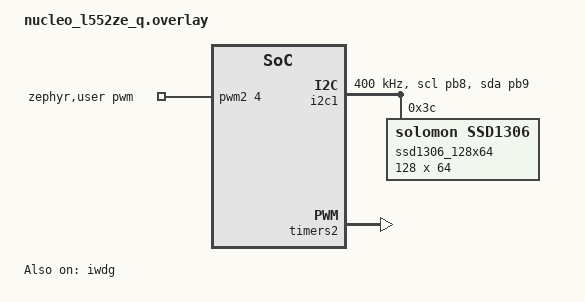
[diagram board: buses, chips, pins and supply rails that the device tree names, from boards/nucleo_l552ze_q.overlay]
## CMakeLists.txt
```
cmake_minimum_required(VERSION 3.20.0)

# Provides the SSD1306 OLED (with the exact init parameters this specific
# panel needs - segment-remap/com-invdir/multiplex-ratio etc, easy to get
# wrong by hand) and the D1 button as a proper gpio-keys node. Set here
# (before find_package) so plain `west build` picks it up with no extra
# flag needed, same reasoning as the self-contained CDC-ACM console setup.
# Does not cover the buzzer - that pinctrl/PWM setup stays in
# boards/xiao_rp2040.overlay, since the shield doesn't know about it.
#
# Only for XIAO boards: the shield and expansion_board.overlay are written
# against the XIAO connector (&xiao_d, &xiao_i2c). Other boards wire the
# expansion board by jumper wires and describe it in their own
# boards/<board>.overlay (e.g. nucleo_l552ze_q). Gated on BOARD, not
# CONFIG_BOARD_*: Kconfig hasn't run yet before find_package.
if(BOARD MATCHES "^xiao_")
    set(SHIELD seeed_xiao_expansion_board)

    # Expansion-board settings for every XIAO (buzzer pin via the XIAO
    # connector, button debounce) - see expansion_board.overlay. Appended
    # to (not replacing) the board overlays under boards/.
    list(APPEND EXTRA_DTC_OVERLAY_FILE ${CMAKE_CURRENT_LIST_DIR}/expansion_board.overlay)
endif()

find_package(Zephyr REQUIRED HINTS $ENV{ZEPHYR_BASE})
project(xiao_rp2040_mplay)

target_sources(app PRIVATE src/main.c src/mod_player.c src/vu_neopixel.c src/oled_display.c src/spectrum.c src/diag.c
               src/audio.c)
# Audio output backend, one per SoC family - see src/audio_backend.h.
target_sources_ifdef(CONFIG_SOC_FAMILY_RPI_PICO app PRIVATE src/audio_rp2xxx.c)
target_sources_ifdef(CONFIG_SOC_FAMILY_NORDIC_NRF app PRIVATE src/audio_nrf.c)
target_sources_ifdef(CONFIG_SOC_FAMILY_STM32 app PRIVATE src/audio_stm32.c)

# Embed the playlist as flash data, generated at build time into the build
# directory rather than committing ~6x larger generated headers. Each MOD
# becomes a byte-list .inc (Zephyr's generate_inc_file_for_target()), and
# mod_table.h wraps them into mod_table[] in this order - the D1 button
# steps through it (see main.c). Add/remove/reorder songs here.
set(MOD_FILES
        AXEL_F.MOD
        POPCORN1.MOD
        ELYSIUM.MOD
        MOBY_DRAGONSFUNK.MOD
        12TH.MOD
        STEEL_CHAMBERS_2.MOD
        2010.MOD
        JOHN.MOD
        LISBONFE.MOD
)
# The XIAO BLE (nRF52840) has 1 MB of flash, of which the code partition
# (after the bootloader's reserved area) is ~790 KB - room for ~700 KB of
# MODs next to the ~70 KB of code. The linker errors out if it overflows.
if(CONFIG_BOARD_XIAO_BLE)
    set(MOD_FILES
        AXEL_F.MOD
        POPCORN1.MOD
        ELYSIUM.MOD
        MOBY_DRAGONSFUNK.MOD
        12TH.MOD
    )
# NUCLEO-L552ZE-Q: 512 KB of internal flash in total.
elseif(CONFIG_BOARD_NUCLEO_L552ZE_Q)
    set(MOD_FILES
        AXEL_F.MOD
        POPCORN1.MOD
        ELYSIUM.MOD
    )
endif()
set(MOD_GEN_DIR ${CMAKE_CURRENT_BINARY_DIR}/mods)
set(MOD_ARRAYS "")
set(MOD_ENTRIES "")
set(MOD_INDEX 0)
foreach(MOD_FILE ${MOD_FILES})
        generate_inc_file_for_target(app ${CMAKE_CURRENT_LIST_DIR}/mods/${MOD_FILE}
                                     ${MOD_GEN_DIR}/mod_${MOD_INDEX}.inc)
        string(APPEND MOD_ARRAYS
                "static const uint8_t mod_data_${MOD_INDEX}[] = {\n#include \"mod_${MOD_INDEX}.inc\"\n};\n")
        string(APPEND MOD_ENTRIES
                "\t{ \"${MOD_FILE}\", mod_data_${MOD_INDEX}, sizeof(mod_data_${MOD_INDEX}) },\n")
        math(EXPR MOD_INDEX "${MOD_INDEX} + 1")
endforeach()
file(GENERATE OUTPUT ${MOD_GEN_DIR}/mod_table.h CONTENT
"/* Generated by CMakeLists.txt from MOD_FILES - do not edit. */
#include <stddef.h>
#include <stdint.h>

struct mod_entry {
\tconst char *name;
\tconst uint8_t *data;
\tsize_t len;
};

${MOD_ARRAYS}
static const struct mod_entry mod_table[] = {
${MOD_ENTRIES}};
")
target_include_directories(app PRIVATE ${MOD_GEN_DIR})
```

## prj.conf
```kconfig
# Common to every board. Board-specific settings (the audio backend's
# drivers, NeoPixel, stack protection) live in boards/<board>.conf, which
# Zephyr merges automatically for the board being built - Zephyr rejects
# assignments to symbols a board doesn't have, so they can't live here.

CONFIG_GPIO=y

# main()'s thread does the 4-channel mixer (plus, when enabled, the
# NeoPixel driver call chain) - the 1024-byte default was too tight. RAM
# headroom is large on every XIAO, so this costs nothing meaningful. The
# +256 on this and the stacks below dates from trying the RP2040's MPU
# stack guard (256-byte regions on ARMv6-M); harmless elsewhere.
CONFIG_MAIN_STACK_SIZE=4352
CONFIG_IDLE_STACK_SIZE=512
CONFIG_SYSTEM_WORKQUEUE_STACK_SIZE=1280
CONFIG_USBD_THREAD_STACK_SIZE=1280
CONFIG_INPUT_THREAD_STACK_SIZE=1280

# Expansion board peripherals (seeed_xiao_expansion_board shield, set in
# CMakeLists.txt): SSD1306 OLED over I2C, D1 button as a gpio-keys input
# device. The buzzer pin is described through the XIAO connector in
# expansion_board.overlay.
CONFIG_I2C=y
CONFIG_DISPLAY=y
CONFIG_SSD1306=y
CONFIG_INPUT=y

# Self-contained USB CDC console (same setup as pico_mplay's), no -S
# snippet needed - see the board overlays for the devicetree side (the
# XIAO BLE's board definition already provides the CDC node).
CONFIG_USB_DEVICE_STACK_NEXT=y
CONFIG_CDC_ACM_SERIAL_INITIALIZE_AT_BOOT=y
CONFIG_STDOUT_CONSOLE=y
CONFIG_SERIAL=y
CONFIG_UART_LINE_CTRL=y
CONFIG_USBD_CDC_ACM_CLASS=y

# Crash diagnostics (src/diag.c): a fatal error can't be printed over the
# USB CDC console (interrupts are locked, the TX work never runs), so the
# fatal handler stores it in __noinit RAM and reboots; the next boot prints
# it together with the reset cause. The watchdog turns non-fatal hangs
# (deadlock, IRQ storm) into a reset with a WATCHDOG cause.
CONFIG_REBOOT=y
CONFIG_HWINFO=y
CONFIG_WATCHDOG=y
CONFIG_THREAD_NAME=y
```

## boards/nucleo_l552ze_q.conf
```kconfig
# NUCLEO-L552ZE-Q: console on LPUART1 (ST-LINK virtual COM port), so the
# USB device stack that prj.conf enables for the XIAOs' CDC console stays
# off. Merged after prj.conf; the USB options there that depend on it then
# become inactive (harmless Kconfig warnings).
CONFIG_USB_DEVICE_STACK_NEXT=n

# Buzzer: TIM2 PWM fed by DMA (audio_stm32.c).
CONFIG_PWM=y
CONFIG_DMA=y

# printk on a UART console busy-waits per character: main()'s ~130-char
# status line takes ~11 ms at 115200 baud, longer than one audio buffer
# (5.3 ms), and the render loop underran once per line. (The XIAOs' USB
# CDC console queues output, so it never showed there.) Deferred logging
# routes printk through the log buffer; the low-priority log thread does
# the actual UART output.
CONFIG_LOG=y
CONFIG_LOG_MODE_DEFERRED=y
CONFIG_LOG_PRINTK=y
CONFIG_LOG_BUFFER_SIZE=2048
```

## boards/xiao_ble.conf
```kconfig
# XIAO BLE and XIAO BLE Sense (nRF52840) - build both with -b xiao_ble: same
# MCU, flash, pins and bootloader; the Sense only adds an IMU and a PDM
# microphone, which this firmware doesn't use. (-b xiao_ble/nrf52840/sense
# would look for boards/xiao_ble_nrf52840_sense.conf/.overlay instead.)
#
# The audio_nrf.c backend drives PWM1's
# sequence playback through nrfx directly - not Zephyr's PWM driver
# (CONFIG_PWM stays off; PWM1 stays disabled in devicetree).
CONFIG_NRFX_PWM=y

# No NeoPixel on this board (vu_neopixel.c compiles to stubs), and stack
# overflow checking comes from the board's defconfig: ARM_MPU +
# HW_STACK_PROTECTION, i.e. real 32-byte MPU guards on the Cortex-M4 -
# stronger than the RP2040's STACK_SENTINEL, which it can't be combined
# with.
```

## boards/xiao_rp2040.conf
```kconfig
# XIAO RP2040 (and, via boards/xiao_rp2350_*.conf, the RP2350): the
# audio_rp2xxx.c backend - PWM slice paced DMA - and the onboard NeoPixel
# (RPi-Pico-PIO WS2812 driver).
CONFIG_PWM=y
CONFIG_DMA=y
CONFIG_LED_STRIP=y

CONFIG_UDC_RPI_PICO_STACK_SIZE=768

# Stack overflow checking. The M0+ does have an MPU and Zephyr supports it
# on RP2040, but with the guard on (256-byte regions carved from every
# stack on ARMv6-M) the board faulted/rebooted within the first second of
# boot even with the +256 stack bumps in prj.conf - cause not yet known.
# STACK_SENTINEL (checked at context switches) until that's understood:
#   CONFIG_ARM_MPU=y
#   CONFIG_MPU_STACK_GUARD=y
CONFIG_STACK_SENTINEL=y
```

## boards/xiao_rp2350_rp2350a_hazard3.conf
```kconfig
# XIAO RP2350 on its Hazard3 (RISC-V) cores - same setup as
# boards/xiao_rp2350_rp2350a_m33.conf, minus the ARM MPU notes, and with
# the USB device stack OFF: it hangs on Hazard3 in Zephyr 4.4.2 (even the
# unmodified samples/subsys/usb/cdc_acm never enumerates; works on M33).
# The console goes to UART0 instead - see the .overlay. Merged after
# prj.conf, so this overrides its USB settings; the USB options there that
# depend on it then become inactive (harmless Kconfig warnings).
CONFIG_PWM=y
CONFIG_DMA=y
CONFIG_LED_STRIP=y

CONFIG_USB_DEVICE_STACK_NEXT=n

CONFIG_STACK_SENTINEL=y
```

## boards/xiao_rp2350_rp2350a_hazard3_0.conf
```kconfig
# XIAO RP2350 on its Hazard3 (RISC-V) cores - same setup as
# boards/xiao_rp2350_rp2350a_m33_0.conf, minus the ARM MPU notes, and with
# the USB device stack OFF: it hangs on Hazard3 in Zephyr 4.4.2 (even the
# unmodified samples/subsys/usb/cdc_acm never enumerates; works on M33).
# The console goes to UART0 instead - see the .overlay. Merged after
# prj.conf, so this overrides its USB settings; the USB options there that
# depend on it then become inactive (harmless Kconfig warnings).
CONFIG_PWM=y
CONFIG_DMA=y
CONFIG_LED_STRIP=y

CONFIG_USB_DEVICE_STACK_NEXT=n

CONFIG_STACK_SENTINEL=y
```

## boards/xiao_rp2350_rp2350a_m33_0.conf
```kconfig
# XIAO RP2350 (Cortex-M33 cores) - same setup as boards/xiao_rp2040.conf:
# the audio_rp2xxx.c backend (PWM slice paced DMA) and the NeoPixel.
CONFIG_PWM=y
CONFIG_DMA=y
CONFIG_LED_STRIP=y

CONFIG_UDC_RPI_PICO_STACK_SIZE=768

# Stack overflow checking: STACK_SENTINEL, as on the RP2040. The M33 has
# an ARMv8-M MPU (32-byte guard regions, unlike the M0+'s 256), so
# CONFIG_ARM_MPU + CONFIG_MPU_STACK_GUARD would likely work here and be
# stronger - untried (no RP2350 board yet).
CONFIG_STACK_SENTINEL=y
```

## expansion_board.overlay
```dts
/*
 * Seeed XIAO expansion board settings common to every XIAO, on top of
 * Zephyr's seeed_xiao_expansion_board shield (OLED, button, RTC).
 *
 * The expansion board's passive buzzer is on A3/D3. Described through the
 * XIAO connector (&xiao_d, from each board's seeed_xiao_connector.dtsi), so
 * it resolves to the right real pin on every XIAO: GPIO29 on the RP2040,
 * GPIO5 on the RP2350, P0.29 on the nRF52840 - Zephyr's devicetree tooling
 * translates the connector's gpio-map. The audio backends read it with
 * DT_GPIO_PIN(DT_PATH(zephyr_user), buzzer_gpios).
 *
 * The D1 button (the shield's gpio-keys node, which has no label of its
 * own) gets a bit more debounce than the 30ms default for this tactile
 * switch.
 *
 * Applied to every board via EXTRA_DTC_OVERLAY_FILE in CMakeLists.txt (an
 * app.overlay would be skipped whenever boards/<board>.overlay exists).
 */
#include <zephyr/dt-bindings/gpio/gpio.h>

/ {
	zephyr,user {
		buzzer-gpios = <&xiao_d 3 GPIO_ACTIVE_HIGH>;
	};
};

&{/buttons} {
	debounce-interval-ms = <50>;
};
```

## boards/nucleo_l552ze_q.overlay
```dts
/*
 * NUCLEO-L552ZE-Q with the XIAO expansion board on jumper wires (no XIAO
 * in its socket), so the seeed_xiao_expansion_board shield isn't used -
 * this describes the same parts directly:
 *
 *   expansion board   Nucleo (Zio header)
 *   3V3, GND          3V3 (CN8 pin 7), GND
 *   D4 / SDA          D14 = PB9 = I2C1_SDA
 *   D5 / SCL          D15 = PB8 = I2C1_SCL
 *   A3 / D3 buzzer    A0  = PA3 = TIM2_CH4
 *
 * The expansion board's D1 button isn't wired: the Nucleo's blue USER
 * button B1 (PC13) is already a gpio-keys node with INPUT_KEY_0 in the
 * board definition - the same key code main.c listens for.
 *
 * Console on LPUART1 = the ST-LINK virtual COM port (board default).
 */
#include <zephyr/dt-bindings/i2c/i2c.h>
#include <zephyr/dt-bindings/pwm/pwm.h>

/ {
	chosen {
		zephyr,display = &ssd1306_128x64;
	};

	aliases {
		watchdog0 = &iwdg;   /* diag.c */
	};

	zephyr,user {
		/* Buzzer PWM for audio_stm32.c: TIM2 channel 4. The period is
		 * set at runtime (sample rate), so 0 here.
		 */
		pwms = <&pwm2 4 0 PWM_POLARITY_NORMAL>;

		/* DMA channel that writes the next duty value into TIM2_CCR4
		 * on every timer update (= every sample): DMA1 channel 1
		 * (1-based), DMAMUX request 60 = TIM2_UP (RM0438, DMAMUX
		 * table). The transfer itself is configured in audio_stm32.c,
		 * so the config cell is 0.
		 */
		dmas = <&dma1 1 60 0>;
	};
};

/* 400 kHz: a full 1 KB OLED frame takes ~23 ms on the wire instead of
 * ~92 ms at the 100 kHz default.
 */
&i2c1 {
	pinctrl-0 = <&i2c1_scl_pb8 &i2c1_sda_pb9>;
	pinctrl-names = "default";
	clock-frequency = <I2C_BITRATE_FAST>;
	status = "okay";

	/* Copied from the seeed_xiao_expansion_board shield - the init
	 * parameters this panel needs.
	 */
	ssd1306_128x64: ssd1306@3c {
		compatible = "solomon,ssd1306";
		reg = <0x3c>;
		width = <128>;
		height = <64>;
		segment-offset = <0>;
		page-offset = <0>;
		display-offset = <0>;
		multiplex-ratio = <63>;
		segment-remap;
		com-invdir;
		prechargep = <0x22>;
	};
};

/* TIM2 is 32-bit, clocked at 110 MHz with no prescaler: 110 MHz / 48 kHz
 * = 2291 counts per sample period (~11 bits of duty resolution).
 */
&timers2 {
	status = "okay";

	pwm2: pwm {
		pinctrl-0 = <&tim2_ch4_pa3>;
		pinctrl-names = "default";
		status = "okay";
	};
};

/* DMA1 is used directly (channel + request in the dmas cell above); the
 * DMAMUX node must be enabled too, its driver turns on the DMAMUX clock -
 * same setup as Zephyr's samples/drivers/spi_flash for stm32l562e_dk.
 */
&dma1 {
	status = "okay";
};

&dmamux1 {
	status = "okay";
};

&iwdg {
	status = "okay";
};
```

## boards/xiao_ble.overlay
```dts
/*
 * XIAO BLE (nRF52840). The USB CDC console node comes from the board
 * definition, the buzzer pin and button debounce from
 * expansion_board.overlay - this only sets up the OLED's I2C bus.
 *
 * The board puts xiao_i2c on the legacy TWI peripheral with no
 * clock-frequency: 100 kHz, one interrupt per byte. A full 1 KB OLED frame
 * then took ~92 ms on the wire (~6 fps). Here:
 *  - 400 kHz, the nRF52840's maximum (~23 ms per frame on the wire);
 *  - TWIM, the EasyDMA variant of the same block: the whole frame goes out
 *    as one DMA transfer instead of ~1000 byte interrupts. The SSD1306
 *    driver sends each frame with i2c_burst_write_dt() - a 1-byte control
 *    message plus the 1024-byte data message with no STOP between - which
 *    the TWIM driver must merge into one transfer in its concat buffer
 *    (default 16 bytes -> -ENOSPC), hence zephyr,concat-buf-size = 1025
 *    (1 KB of RAM). SPI1, which shares this peripheral block, stays
 *    disabled.
 */
#include <zephyr/dt-bindings/i2c/i2c.h>

&xiao_i2c {
	compatible = "nordic,nrf-twim";
	clock-frequency = <I2C_BITRATE_FAST>;
	zephyr,concat-buf-size = <1025>;
};
```

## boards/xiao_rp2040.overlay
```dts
/*
 * The board's own pinctrl (xiao_rp2040-pinctrl.dtsi) only defines
 * pwm_ch4b_default (GPIO25, the blue LED) - the passive buzzer on this
 * board's expansion header is A3/D3 = GPIO29 = PWM slice 6, channel B
 * (slice = (gpio >> 1) & 7, channel = gpio & 1), which needs its own group.
 */
#include <zephyr/dt-bindings/pinctrl/rpi-pico-rp2040-pinctrl.h>
#include <zephyr/dt-bindings/gpio/gpio.h>

/ {
	chosen {
		zephyr,console = &usb_cdc;
	};
};

&pinctrl {
	pwm_ch6b_default: pwm_ch6b_default {
		group1 {
			pinmux = <RP2XXX_PINMUX(29, RP2_PINCTRL_GPIO_FUNC_PWM)>;
		};
	};
};

&pwm {
	status = "okay";
	pinctrl-0 = <&pwm_ch6b_default>;
	pinctrl-names = "default";
};

&dma {
	status = "okay";
};

&zephyr_udc0 {
	usb_cdc: usb_cdc_0 {
		compatible = "zephyr,cdc-acm-uart";
	};
};

/* D1 button (the shield's gpio-keys node, which has no label of its own):
 * a bit more debounce than the 30ms default for this tactile switch.
 */
&{/buttons} {
	debounce-interval-ms = <50>;
};
```

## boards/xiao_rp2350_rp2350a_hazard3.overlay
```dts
/*
 * XIAO RP2350 on its Hazard3 (RISC-V) cores - same board wiring as the M33
 * overlay, but with the console on the board's UART0 (TX = D6/GPIO0,
 * RX = D7/GPIO1, 115200 8N1 - needs a 3.3 V USB-serial adapter) instead of
 * USB CDC: USB device mode hangs on Hazard3 in Zephyr 4.4.2 - even the
 * unmodified samples/subsys/usb/cdc_acm never enumerates, while the same
 * code works on the M33 cores. See boards/xiao_rp2350_rp2350a_hazard3.conf.
 */
#include "xiao_rp2350_rp2350a_m33.overlay"

/ {
	chosen {
		zephyr,console = &uart0;
	};
};

/delete-node/ &usb_cdc;
```

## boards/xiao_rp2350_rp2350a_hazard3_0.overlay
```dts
/*
 * XIAO RP2350 on its Hazard3 (RISC-V) cores - same board wiring as the M33
 * overlay, but with the console on the board's UART0 (TX = D6/GPIO0,
 * RX = D7/GPIO1, 115200 8N1 - needs a 3.3 V USB-serial adapter) instead of
 * USB CDC: USB device mode hangs on Hazard3 in Zephyr 4.4.2 - even the
 * unmodified samples/subsys/usb/cdc_acm never enumerates, while the same
 * code works on the M33 cores. See boards/xiao_rp2350_rp2350a_hazard3_0.conf.
 */
#include "xiao_rp2350_rp2350a_m33_0.overlay"

/ {
	chosen {
		zephyr,console = &uart0;
	};
};

/delete-node/ &usb_cdc;
```

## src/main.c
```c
/*
 * XIAO + Seeed expansion board MOD player: mod_player.c rendered into the
 * board's passive piezo buzzer (A3/D3), plus an OLED spectrum/scope and the
 * D1 button. Originally pico_mplay's I2S DAC output adapted to PWM - the
 * only thing that changes going from I2S to PWM is what a "sample" becomes
 * on its way out: an unsigned PWM duty-cycle value instead of a stereo I2S
 * frame.
 *
 * The output itself is behind audio.h (audio.c + a per-SoC backend,
 * audio_rp2xxx.c / audio_nrf.c): this file renders into its buffers from
 * the main thread, woken whenever one has been played - the backend's
 * interrupt only moves buffers to the hardware, never renders (see
 * pico_mplay/src/main.c for why rendering can't live in the ISR).
 */

#include <zephyr/kernel.h>
#include <zephyr/device.h>
#include <zephyr/drivers/gpio.h>
#include <zephyr/input/input.h>

#include "audio.h"
#include "mod_player.h"
#include "mod_table.h"
#include "vu_neopixel.h"
#include "oled_display.h"
#include "spectrum.h"
#include "diag.h"

/* Spectrum thread heartbeat + display_write() health. */
static volatile uint32_t spectrum_loops;
/* Frame work time (FFT + draw + OLED push, excluding the period sleep),
 * summed over the frames since the last status report - the report prints
 * the average as frame_us: the headroom left in SPECTRUM_FRAME_MS.
 */
static volatile uint32_t frame_work_us_sum;
static volatile uint32_t frame_work_count;
static volatile uint32_t oled_errors;
static volatile int oled_last_error;

static struct PlayerState player;
static size_t song_idx;

/* D1 button on the expansion board: the shield's gpio-keys node, which
 * already debounces (debounce-interval-ms, 30ms default - raised to 50ms in
 * boards/xiao_rp2040.overlay) and reports press/release as INPUT_KEY_0
 * events from the input thread.
 *
 *  - short press (released before LONG_PRESS_MS): next song. Acted on at
 *    release, since only then is it known to be short. This only raises a
 *    flag: switching songs reinitialises `player`, which must happen in
 *    main()'s render thread between fill_buffer() calls, never concurrently
 *    with one.
 *  - long press: cycles the display (fine -> wide -> hires -> scope) as soon as
 *    LONG_PRESS_MS elapses, while still held - no need to guess when to
 *    let go. spectrum_set_mode() is safe from any thread.
 *
 * button_state decides which of the two a press becomes, exactly once:
 * the release handler and the long-press timer both try to move it out of
 * BTN_PRESSED with a compare-and-swap, and only the winner acts.
 */
#define LONG_PRESS_MS 600

enum { BTN_IDLE, BTN_PRESSED, BTN_LONG };

static atomic_t next_song_requested;
static atomic_t button_state = ATOMIC_INIT(BTN_IDLE);

static void long_press_handler(struct k_work *work)
{
	ARG_UNUSED(work);
	if (atomic_cas(&button_state, BTN_PRESSED, BTN_LONG)) {
		enum spectrum_mode mode = (spectrum_get_mode() + 1) % SPECTRUM_MODE_COUNT;

		spectrum_set_mode(mode);
		printk("display: %s\n", spectrum_mode_name(mode));
	}
}
static K_WORK_DELAYABLE_DEFINE(long_press_work, long_press_handler);

static void button_cb(struct input_event *evt, void *user_data)
{
	ARG_UNUSED(user_data);
	if (evt->type != INPUT_EV_KEY || evt->code != INPUT_KEY_0) {
		return;
	}
	if (evt->value) {
		atomic_set(&button_state, BTN_PRESSED);
		k_work_schedule(&long_press_work, K_MSEC(LONG_PRESS_MS));
	} else if (atomic_cas(&button_state, BTN_PRESSED, BTN_IDLE)) {
		/* released before the long-press timer fired: short press */
		k_work_cancel_delayable(&long_press_work);
		atomic_set(&next_song_requested, 1);
	} else {
		atomic_set(&button_state, BTN_IDLE);   /* end of a long press */
	}
}
INPUT_CALLBACK_DEFINE(NULL, button_cb, NULL);

/* Loads mod_table[idx], or the next one that parses if it doesn't (a failed
 * mod_player_init() leaves `player` zeroed - header NULL - which
 * mod_player_produce() must never see). Returns false if none do.
 */
static bool load_song(size_t idx)
{
	for (size_t tries = 0; tries < ARRAY_SIZE(mod_table); tries++) {
		const struct mod_entry *m = &mod_table[idx];

		if (mod_player_init(&player, m->data, m->len) == 0) {
			song_idx = idx;
			printk("song %u/%u: %s (%u bytes)\n", (unsigned)idx + 1,
			       (unsigned)ARRAY_SIZE(mod_table), m->name, (unsigned)m->len);
			return true;
		}
		printk("song %s: mod_player_init failed, skipping\n", m->name);
		idx = (idx + 1) % ARRAY_SIZE(mod_table);
	}
	return false;
}
static int16_t mono_scratch[AUDIO_BUF_LEN];

/* mod_player.c's MIX_SCALE is shared across every target and deliberately
 * keeps headroom for the I2S DAC/amp chain (see pico_dma/README.md: "keeps
 * 6 dB of signal-to-noise at the DAC/amp instead of giving it away as
 * headroom"). That headroom is exactly wrong here: this is a bare,
 * unamplified piezo driven straight off a GPIO, with no downstream gain
 * stage at all, so the mixer's modest typical amplitude barely swings the
 * PWM duty cycle - likely why it was silent rather than merely quiet.
 * Recovered locally, per the same principle as the earlier volume-control
 * discussion (gain belongs at the output stage, not the shared mixer):
 * heavy clipping here is fine, even expected - a piezo buzzer isn't a
 * hi-fi transducer, and a near-full square-wave swing is what actually
 * moves it audibly. Starting value, likely needs tuning by ear.
 */
#define BUZZER_GAIN 4

/* Renders AUDIO_BUF_LEN mono samples from the MOD mixer, feeds the
 * spectrum, applies BUZZER_GAIN and queues them for output.
 */
static void fill_buffer(void)
{
	mod_player_produce(&player, mono_scratch, AUDIO_BUF_LEN);
	/* Temporarily disabled while chasing underruns - not the likely
	 * cause (cheap, ~30us PIO write) but ruling it out. Not committing
	 * this alone.
	 */
	/* vu_neopixel_update(mono_scratch, AUDIO_BUF_LEN); */

	/* Cheap (just decimates into a ring buffer) - stays inline here, same
	 * as vu_neopixel_update(). The FFT itself and the OLED push run in
	 * their own thread (spectrum_thread() below), not every buffer. Fed
	 * the mixer's output before BUZZER_GAIN, as before.
	 */
	spectrum_accumulate(mono_scratch, AUDIO_BUF_LEN);

	for (int i = 0; i < AUDIO_BUF_LEN; i++) {
		int32_t sample = (int32_t)mono_scratch[i] * BUZZER_GAIN;

		if (sample > 32767) {
			sample = 32767;
		} else if (sample < -32768) {
			sample = -32768;
		}
		mono_scratch[i] = (int16_t)sample;
	}
	audio_submit(mono_scratch);
}

/* OLED bar-graph height cap - passed as both spectrum_get_levels()'s
 * max_value and oled_draw_bars()'s max_height.
 */
#define SPECTRUM_BAR_MAX 64

/* Display frame period - spectrum.c's envelope decay is tuned for it. */
#define SPECTRUM_FRAME_MS 40

/* Oscilloscope trace size - the whole OLED. */
#define SCOPE_WIDTH  128
#define SCOPE_HEIGHT 64

/* The FFT (spectrum_process()) and the OLED push (oled_draw_bars()) are
 * both too slow for the render thread's ~5.33ms/buffer budget - this
 * thread does them on its own schedule instead, decoupled from audio
 * timing entirely. Lower priority than main(): Zephyr's preemptive
 * scheduler always lets the render thread win whenever the audio backend signals
 * it, no matter how long this thread is mid-FFT or blocked on the OLED's
 * I2C write - see spectrum.c/oled_display.c for why that makes both safe
 * to run unchunked here.
 */
static void spectrum_thread(void *p1, void *p2, void *p3)
{
	ARG_UNUSED(p1);
	ARG_UNUSED(p2);
	ARG_UNUSED(p3);

	int64_t next_frame = k_uptime_get();

	while (1) {
		int ret;
		uint32_t work_start = k_cycle_get_32();

		if (spectrum_process() == SPECTRUM_MODE_SCOPE) {
			uint8_t ys[SCOPE_WIDTH];

			spectrum_get_scope(ys, SCOPE_WIDTH, SCOPE_HEIGHT);
			ret = oled_draw_trace(ys, SCOPE_WIDTH);
		} else {
			uint8_t bar_heights[SPECTRUM_MAX_BANDS];
			uint8_t bar_peaks[SPECTRUM_MAX_BANDS];

			spectrum_get_levels(bar_heights, bar_peaks, SPECTRUM_BAR_MAX);
			ret = oled_draw_bars(bar_heights, bar_peaks, spectrum_band_count(),
					     SPECTRUM_BAR_MAX);
		}

		if (ret != 0) {
			oled_errors++;
			oled_last_error = ret;
		}
		spectrum_loops++;
		frame_work_us_sum += k_cyc_to_us_floor32(k_cycle_get_32() - work_start);
		frame_work_count++;

		/* Fixed 40ms frame period (25 fps) - sleep only for what's left
		 * of it. This used to be a flat k_msleep(40) *after* the work,
		 * so the real period was 40ms + FFT + the ~23ms I2C push: ~58ms
		 * (~17 fps) on the RP2040, ~80ms (~12 fps) on the XIAO BLE - and
		 * spectrum.c's DECAY_ALPHA_Q14, computed for exactly 40ms steps,
		 * made the bars fall correspondingly slower than designed. If a
		 * frame overruns the period, carry on from now rather than
		 * rushing to catch up.
		 */
		next_frame += SPECTRUM_FRAME_MS;
		int64_t left = next_frame - k_uptime_get();

		if (left > 0) {
			k_msleep((int32_t)left);
		} else {
			next_frame = k_uptime_get();
		}
	}
}

/* 4096, not the 2048 this was first sized at: that was picked back when
 * SPECTRUM_BANDS was still 16 (bar_heights was a 16-byte stack array) and
 * never revisited after bumping to 128 bands (128 bytes) a few commits
 * later - on top of the FFT's own frame and however deep the display/I2C
 * driver call chain goes (display_write -> ssd1306_write -> ... ->
 * i2c_dw_transfer). RP2040/Cortex-M0 has no MPU stack guard (same
 * reasoning as the main-thread stack fix earlier in this project), so an
 * overflow here wouldn't panic cleanly - it'd silently corrupt whatever's
 * next to this thread's stack, consistent with a hang with no crash
 * message and an unrelated subsystem (audio) freezing shortly after.
 */
/* Created suspended (K_TICKS_FOREVER) and started from main() only after
 * oled_display_init(): otherwise this thread runs as soon as main() blocks
 * on the init blank's I2C write and pushes a frame concurrently with it,
 * interleaving two SSD1306 command/data sequences.
 */
K_THREAD_DEFINE(spectrum_tid, 4096 + 256, spectrum_thread, NULL, NULL, NULL,
		 K_LOWEST_APPLICATION_THREAD_PRIO, 0, K_TICKS_FOREVER);

/* The XIAO's user LEDs (RP2040: an RGB trio, led0/1/2 = blue GPIO25,
 * green GPIO16, red GPIO17, all active-low; RP2350: a single led0). Left
 * unconfigured, those pins come up as inputs with the RP2040's default
 * pull-down, which sinks enough current through the LEDs to light them -
 * drive them to their inactive level instead. Only the aliases the board
 * actually defines are used.
 */
#define USER_LED_SPEC(alias) GPIO_DT_SPEC_GET(DT_ALIAS(alias), gpios),

static void user_leds_off(void)
{
	const struct gpio_dt_spec leds[] = {
		IF_ENABLED(DT_NODE_EXISTS(DT_ALIAS(led0)), (USER_LED_SPEC(led0)))
		IF_ENABLED(DT_NODE_EXISTS(DT_ALIAS(led1)), (USER_LED_SPEC(led1)))
		IF_ENABLED(DT_NODE_EXISTS(DT_ALIAS(led2)), (USER_LED_SPEC(led2)))
	};

	for (size_t i = 0; i < ARRAY_SIZE(leds); i++) {
		if (gpio_is_ready_dt(&leds[i])) {
			gpio_pin_configure_dt(&leds[i], GPIO_OUTPUT_INACTIVE);
		}
	}
}

int main(void)
{
	user_leds_off();
	diag_init();

	if (audio_init() != 0) {
		printk("audio output init failed\n");
		return 0;
	}

	if (!load_song(0)) {
		printk("no playable MOD in mod_table\n");
		return 0;
	}

	if (vu_neopixel_init() != 0) {
		printk("NeoPixel not ready - continuing without the VU meter\n");
	}

	if (oled_display_init() != 0) {
		printk("OLED not ready or failed to blank\n");
	}
	k_thread_start(spectrum_tid);

	while (audio_wants_buffer()) {
		fill_buffer();   /* prefill both buffers */
	}
	audio_start();

	printk("mod player running (buzzer, %u Hz)\n", audio_sample_rate());
	int64_t next_report = k_uptime_get() + 1000;

	while (1) {
		/* Woken whenever a buffer has been played (or times out - not
		 * otherwise fatal) so the report below still fires ~1/s even
		 * if nothing is due to render this tick.
		 */
		audio_wait(K_MSEC(100));
		diag_feed();

		/* Song ended (the player looped it back to the start):
		 * advance like a button press. A few ms of the restart may
		 * already be in the queued buffers - inaudible in practice.
		 */
		if (player.restarts > 0) {
			atomic_set(&next_song_requested, 1);
		}

		if (atomic_clear(&next_song_requested)) {
			/* The two buffers already queued still play out the
			 * old song (~10ms) - not worth flushing.
			 */
			if (!load_song((song_idx + 1) % ARRAY_SIZE(mod_table))) {
				printk("no playable MOD in mod_table\n");
				return 0;
			}
		}

		audio_poll();

		while (audio_wants_buffer()) {
			fill_buffer();
		}

		/* Software-only sanity check, same as pico_mplay: position/
		 * row should visibly advance regardless of whether anything
		 * is audible, plus the underrun count.
		 */
		if (k_uptime_get() >= next_report) {
			struct audio_stats st;

			audio_get_stats(&st);
			/* Racy read of the two sums (other thread) - fine for a
			 * once-a-second diagnostic average.
			 */
			uint32_t n = frame_work_count;
			uint32_t frame_us = n ? frame_work_us_sum / n : 0;

			frame_work_us_sum = 0;
			frame_work_count = 0;
			printk("song=%u pos=%d row=%d underruns=%u irqs=%u errs=%u(%d) "
			       "restarts=%u spec_loops=%u frame_us=%u oled_errs=%u(%d)\n",
			       (unsigned)song_idx + 1,
			       player.current_position, player.current_row,
			       st.underruns, st.irqs, st.errors, st.last_error,
			       st.restarts, spectrum_loops, frame_us, oled_errors,
			       oled_last_error);
			next_report += 1000;
		}
	}
	return 0;
}
```

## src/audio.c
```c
/*
 * Shared, board-independent part of the audio output: the two buffers, the
 * consumed/filled sequence counters and PCM -> duty-cycle conversion. The
 * hardware side lives in a backend - see audio_backend.h.
 */
#include <zephyr/kernel.h>
#include <zephyr/sys/barrier.h>

#include "audio.h"
#include "audio_backend.h"

uint16_t audio_buf[2][AUDIO_BUF_LEN];
volatile struct audio_stats audio_stats;

/* consumed: advanced by the backend's interrupt; filled: advanced by the
 * render thread only after a buffer is completely converted. Comparing the
 * two catches every underrun, including the hardware reaching a buffer
 * that's still mid-render (see pico_mplay/src/main.c for why a single
 * flag isn't enough).
 */
static volatile uint32_t consumed;
static volatile uint32_t filled;

K_SEM_DEFINE(audio_sem, 0, 1);

static uint32_t duty_top;
static uint32_t rate_hz;

int audio_init(void)
{
	return audio_hw_init(&duty_top, &rate_hz);
}

uint32_t audio_sample_rate(void)
{
	return rate_hz;
}

bool audio_wants_buffer(void)
{
	return (int32_t)(consumed + 2 - filled) > 0;   /* signed diff: wrap-safe */
}

/* Rescales signed 16-bit PCM into an unsigned duty value in [0, top]. */
void audio_submit(const int16_t *pcm)
{
	uint16_t *b = audio_buf[filled & 1];

	for (int i = 0; i < AUDIO_BUF_LEN; i++) {
		uint32_t shifted = (uint32_t)((int32_t)pcm[i] + 32768);   /* -> [0, 65535] */
		uint32_t duty = (shifted * (duty_top + 1)) >> 16;

		if (duty > duty_top) {
			duty = duty_top;   /* guard the rounding-up edge case at full scale */
		}
		b[i] = (uint16_t)duty;
	}
	barrier_dmem_fence_full();   /* buffer contents visible before `filled` says so */
	filled++;
}

int audio_start(void)
{
	return audio_hw_start();
}

void audio_wait(k_timeout_t timeout)
{
	k_sem_take(&audio_sem, timeout);
}

void audio_poll(void)
{
	audio_hw_poll();
}

void audio_get_stats(struct audio_stats *out)
{
	out->irqs = audio_stats.irqs;
	out->underruns = audio_stats.underruns;
	out->errors = audio_stats.errors;
	out->last_error = audio_stats.last_error;
	out->restarts = audio_stats.restarts;
}

uint32_t audio_core_consumed(void)
{
	return consumed;
}

void audio_core_advance(void)
{
	uint32_t next = consumed + 1;

	if ((int32_t)(filled - next) <= 0) {   /* signed diff: wrap-safe */
		audio_stats.underruns++;
	}
	consumed = next;
	k_sem_give(&audio_sem);
}
```

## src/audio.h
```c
/*
 * Audio output: a double-buffered stream of PCM samples to the buzzer.
 *
 * Board-independent interface. The shared part (audio.c) owns the two
 * buffers and the consumed/filled sequence counters; a per-SoC backend
 * (audio_rp2xxx.c: PWM + DMA, audio_nrf.c: nRF PWM sequences) moves the
 * buffers to the hardware - see audio_backend.h.
 *
 * Usage, from one (render) thread:
 *
 *   audio_init();
 *   while (audio_wants_buffer()) { render pcm; audio_submit(pcm); }   // prefill
 *   audio_start();
 *   loop {
 *       audio_wait(timeout);
 *       audio_poll();
 *       while (audio_wants_buffer()) { render pcm; audio_submit(pcm); }
 *   }
 */
#ifndef AUDIO_H
#define AUDIO_H

#include <stdbool.h>
#include <stdint.h>

#include <zephyr/kernel.h>

#define AUDIO_BUF_LEN 256   /* samples per buffer, ~5.3ms at 48kHz */

struct audio_stats {
	uint32_t irqs;       /* buffer-done interrupts */
	uint32_t underruns;  /* a buffer started playing before it was refilled */
	uint32_t errors;     /* backend-reported transfer errors */
	int last_error;
	uint32_t restarts;   /* stall-watchdog recoveries (RP2xxx only) */
};

/* Configures the output hardware; doesn't start playback. 0 on success. */
int audio_init(void);

/* Actual output sample rate in Hz (the PWM period can't always hit 48000
 * exactly - e.g. 48048 on nRF52).
 */
uint32_t audio_sample_rate(void);

/* True while a buffer is free to be filled with audio_submit(). */
bool audio_wants_buffer(void);

/* Converts AUDIO_BUF_LEN signed 16-bit samples into the next free buffer
 * and queues it. Only call when audio_wants_buffer().
 */
void audio_submit(const int16_t *pcm);

/* Starts playback of the queued buffers - call after the prefill. */
int audio_start(void);

/* Blocks until a buffer has been played (so one is free), or timeout. */
void audio_wait(k_timeout_t timeout);

/* Backend housekeeping from the render loop (RP2xxx: DMA stall watchdog). */
void audio_poll(void);

void audio_get_stats(struct audio_stats *out);

#endif
```

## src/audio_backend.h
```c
/*
 * Internal interface between audio.c (shared buffering) and a per-SoC
 * backend. Not for application code - use audio.h.
 *
 * Buffer sequencing (same scheme as pico_mplay's main.c): buffers are
 * numbered by a running sequence number, buffer n lives in audio_buf[n & 1].
 * `consumed` is the number of buffers that have finished playing - so
 * buffer `consumed` is the one playing now. The backend reports each
 * finished buffer by calling audio_core_advance() from its interrupt; the
 * render thread fills buffer `filled` and bumps `filled`. Buffer n must be
 * filled (filled > n) by the time it starts playing, else it's an underrun.
 */
#ifndef AUDIO_BACKEND_H
#define AUDIO_BACKEND_H

#include <stdint.h>

#include "audio.h"

/* Duty-cycle values, 0..top as returned by audio_hw_init(). Must stay in
 * RAM (DMA / EasyDMA source).
 */
extern uint16_t audio_buf[2][AUDIO_BUF_LEN];

/* Counters the backend updates (irqs, errors, last_error, restarts). */
extern volatile struct audio_stats audio_stats;

/* --- implemented by the backend --- */

/* Sets up the hardware; returns 0 and the PWM top value (duty range
 * 0..*top) plus the actual sample rate.
 */
int audio_hw_init(uint32_t *top, uint32_t *sample_rate);

/* Starts playing audio_buf[0], then audio_buf[1], alternating forever,
 * calling audio_core_advance() at the end of each.
 */
int audio_hw_start(void);

/* Called from the render loop, e.g. for a stall watchdog. May be empty. */
void audio_hw_poll(void);

/* --- implemented by audio.c, for the backend --- */

/* Sequence number of the buffer playing now (= buffers finished so far). */
uint32_t audio_core_consumed(void);

/* A buffer finished playing: the next one (consumed + 1) is starting.
 * Counts an underrun if it wasn't filled yet, advances `consumed`, and
 * wakes the render thread. Call from the backend's interrupt (or with
 * interrupts locked).
 */
void audio_core_advance(void);

#endif
```

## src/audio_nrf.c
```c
/*
 * nRF52 audio backend: the PWM peripheral's own sequence playback.
 *
 * Unlike the RP2040 there's no general-purpose DMA controller here - each
 * nRF peripheral has its own built-in DMA ("EasyDMA"), and the PWM one
 * reads a whole sequence of duty values from RAM by itself, one per PWM
 * period. It has two sequence slots, SEQ0 and SEQ1, played back to back and
 * looped - exactly our ping-pong: audio_buf[0] is SEQ0, audio_buf[1] SEQ1.
 * At the end of each, the END_SEQ event says that buffer's data can be
 * rewritten (the other one is playing now) -> audio_core_advance().
 *
 * Driven through nrfx_pwm directly (it ships with Zephyr) because Zephyr's
 * PWM API has no sequence concept. Uses PWM1, which stays disabled in
 * devicetree so Zephyr's own PWM driver never claims it (the board's
 * pwm-led uses PWM0).
 *
 * No stall watchdog as in audio_rp2xxx.c: the peripheral alternates and
 * loops by itself, with nothing to re-arm per buffer - there's no
 * equivalent of the RP2040's double-trigger race.
 */
#include <zephyr/kernel.h>
#include <zephyr/devicetree.h>
#include <zephyr/irq.h>
#include <soc.h>
#include <nrfx_pwm.h>

#include "audio_backend.h"

/* 16 MHz / 333 = 48048 Hz: the closest a 16 MHz PWM gets to 48 kHz (0.1%
 * sharp - inaudible). Duty values 0..333 are ~8.4 bits of resolution,
 * versus ~11.3 on the RP2040 (125 MHz / 48 kHz) - plenty for a buzzer.
 */
#define PWM_CLOCK_HZ 16000000u
#define PWM_TOP      333u

#define PWM_NODE DT_NODELABEL(pwm1)

/* Buzzer pin from expansion_board.overlay (XIAO connector D3). */
#define BUZZER_PSEL NRF_DT_GPIOS_TO_PSEL(DT_PATH(zephyr_user), buzzer_gpios)

#if defined(CONFIG_BOARD_XIAO_BLE)
BUILD_ASSERT(BUZZER_PSEL == 29, "XIAO BLE D3 should resolve to P0.29");
#endif

static nrfx_pwm_t pwm = NRFX_PWM_INSTANCE(DT_REG_ADDR(PWM_NODE));

static nrf_pwm_sequence_t seq[2];

static void pwm_handler(nrfx_pwm_event_type_t event_type, void *p_context)
{
	ARG_UNUSED(p_context);
	if (event_type == NRFX_PWM_EVENT_END_SEQ0 || event_type == NRFX_PWM_EVENT_END_SEQ1) {
		audio_stats.irqs++;
		audio_core_advance();
	}
}

int audio_hw_init(uint32_t *top, uint32_t *sample_rate)
{
	nrfx_pwm_config_t cfg = {
		.output_pins = {
			BUZZER_PSEL,
			NRF_PWM_PIN_NOT_CONNECTED,
			NRF_PWM_PIN_NOT_CONNECTED,
			NRF_PWM_PIN_NOT_CONNECTED,
		},
		.irq_priority = DT_IRQ(PWM_NODE, priority),
		.base_clock = NRF_PWM_CLK_16MHz,
		.count_mode = NRF_PWM_MODE_UP,
		.top_value = PWM_TOP,
		.load_mode = NRF_PWM_LOAD_COMMON,   /* one value per period, all channels */
		.step_mode = NRF_PWM_STEP_AUTO,     /* next value every period */
	};

	/* Same wiring as Zephyr's own drivers/pwm/pwm_nrfx.c. */
	IRQ_CONNECT(DT_IRQN(PWM_NODE), DT_IRQ(PWM_NODE, priority), nrfx_pwm_irq_handler, &pwm, 0);

	int err = nrfx_pwm_init(&pwm, &cfg, pwm_handler, NULL);

	if (err != 0) {
		printk("audio: nrfx_pwm_init failed: %d\n", err);
		return err;
	}

	for (int i = 0; i < 2; i++) {
		seq[i].values.p_common = audio_buf[i];
		seq[i].length = AUDIO_BUF_LEN;
		seq[i].repeats = 0;     /* each value for exactly one PWM period */
		seq[i].end_delay = 0;
	}

	*top = PWM_TOP;
	*sample_rate = PWM_CLOCK_HZ / PWM_TOP;
	printk("audio: nRF PWM1 on P%d.%02d, top=%u (%u Hz)\n",
	       BUZZER_PSEL >> 5, BUZZER_PSEL & 31, PWM_TOP,
	       *sample_rate);
	return 0;
}

int audio_hw_start(void)
{
	/* SEQ0, SEQ1, SEQ0, ... forever; END_SEQn events drive the refills. */
	nrfx_pwm_complex_playback(&pwm, &seq[0], &seq[1], 1,
				  NRFX_PWM_FLAG_LOOP | NRFX_PWM_FLAG_SIGNAL_END_SEQ0 |
					  NRFX_PWM_FLAG_SIGNAL_END_SEQ1 |
					  NRFX_PWM_FLAG_NO_EVT_FINISHED);
	return 0;
}

void audio_hw_poll(void)
{
}
```

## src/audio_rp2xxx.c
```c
/*
 * RP2040 / RP2350 audio backend: the buzzer pin's PWM slice wraps at the
 * sample rate, and DMA - paced by that wrap - writes the next duty value
 * into the slice's compare register each period.
 *
 * Zephyr's pwm.h has no DMA-fed duty-stream concept (one-shot set-period/
 * pulse only), so the PWM driver only sets the period once and DMA writes
 * duty values directly into the raw pwm_hw register. This SoC's DMA driver
 * has no working "repeat forever"/cyclic mode, so the channel is re-armed
 * from its own completion callback - the ISR only re-arms and does the
 * sequence bookkeeping (audio_core_advance()); rendering happens in the
 * render thread (see pico_mplay/src/main.c for why it can't live in the
 * ISR).
 */
#include <zephyr/kernel.h>
#include <zephyr/device.h>
#include <zephyr/drivers/pwm.h>
#include <zephyr/drivers/dma.h>
#include <zephyr/dt-bindings/dma/rpi-pico-dma-common.h>
#include <hardware/gpio.h>
#include <hardware/pwm.h>
#include <hardware/structs/pwm.h>
#include <hardware/structs/dma.h>

#include "audio_backend.h"

/* The buzzer pin, from expansion_board.overlay (XIAO connector D3, resolved to the
 * real GPIO). The PWM slice/channel and the DMA request all follow from
 * it; the pin mux itself is the pinctrl in the board's overlay under
 * boards/ - audio_hw_init() checks the two agree.
 */
#define BUZZER_PIN DT_GPIO_PIN(DT_PATH(zephyr_user), buzzer_gpios)

#if defined(CONFIG_BOARD_XIAO_RP2040)
BUILD_ASSERT(BUZZER_PIN == 29, "XIAO RP2040 D3 should resolve to GPIO29");
#elif defined(CONFIG_BOARD_XIAO_RP2350)
BUILD_ASSERT(BUZZER_PIN == 5, "XIAO RP2350 D3 should resolve to GPIO5");
#endif

static uint slice;      /* pwm_gpio_to_slice_num(BUZZER_PIN) */
static uint channel;    /* pwm_gpio_to_channel(BUZZER_PIN): 0 = A, 1 = B */

#define SAMPLE_RATE_HZ 48000u

static const struct device *pwm_dev = DEVICE_DT_GET(DT_NODELABEL(pwm));
static const struct device *dma_dev = DEVICE_DT_GET(DT_NODELABEL(dma));
static uint32_t dma_channel;
static volatile uint16_t *cc_half;   /* our channel's half of slice[slice].cc */

static void dma_done(const struct device *dev, void *user_data, uint32_t channel, int status);

/* File-scope so dma_done() can re-arm through them (see arm_buffer()). */
static struct dma_block_config dma_block = {
	.dest_address = 0,   /* cc_half, set in audio_hw_init() once it's known */
	.block_size = AUDIO_BUF_LEN * sizeof(uint16_t),
	.source_addr_adj = DMA_ADDR_ADJ_INCREMENT,
	.dest_addr_adj = DMA_ADDR_ADJ_NO_CHANGE,
};
static struct dma_config dma_cfg = {
	.channel_direction = MEMORY_TO_PERIPHERAL,
	.source_data_size = 2,
	.dest_data_size = 2,
	.source_burst_length = 1,
	.dest_burst_length = 1,
	.block_count = 1,
	.head_block = &dma_block,
	.dma_slot = 0,   /* the slice's wrap DREQ, set in audio_hw_init() */
	.dma_callback = dma_done,
};

/* Points the (idle) channel at buffer `seq & 1` and triggers it - exactly
 * once. This used to be dma_reload() + dma_start(), but on this driver
 * *both* call dma_channel_configure(..., trigger=true): the second one
 * rewrote READ_ADDR/TRANS_COUNT/CTRL_TRIG on a channel that was already
 * running and racing the PWM DREQ. Caught in the act as a permanent stall:
 * BUSY, EN, no error flags, TRANS_COUNT=1, READ_ADDR on the last sample of
 * buf[1], PWM still wrapping - waiting forever for a DREQ that never came.
 * Timing-dependent (IRQ latency vs DREQ phase), hence minutes apart and
 * only with the I2C/OLED interrupt load around. dma_config() only stores
 * the settings in the driver (no register writes), so config + start is a
 * single trigger on an idle channel.
 */
static void arm_buffer(uint32_t seq)
{
	dma_block.source_address = (uintptr_t)audio_buf[seq & 1];
	dma_config(dma_dev, dma_channel, &dma_cfg);
	dma_start(dma_dev, dma_channel);
}

static void dma_done(const struct device *dev, void *user_data, uint32_t channel, int status)
{
	ARG_UNUSED(dev);
	ARG_UNUSED(user_data);
	ARG_UNUSED(channel);
	audio_stats.irqs++;
	if (status < 0) {
		/* Count it but keep going - returning here without re-arming
		 * kills audio permanently.
		 */
		audio_stats.errors++;
		audio_stats.last_error = status;
	}

	arm_buffer(audio_core_consumed() + 1);
	audio_core_advance();
}

int audio_hw_init(uint32_t *top, uint32_t *sample_rate)
{
	if (!device_is_ready(pwm_dev) || !device_is_ready(dma_dev)) {
		printk("pwm or dma device not ready\n");
		return -ENODEV;
	}

	slice = pwm_gpio_to_slice_num(BUZZER_PIN);
	channel = pwm_gpio_to_channel(BUZZER_PIN);

	/* Zephyr's PWM "channel" numbering is slice*2 + (0=A, 1=B). */
	uint32_t zephyr_channel = slice * 2 + channel;
	uint64_t cycles_per_sec;

	pwm_get_cycles_per_sec(pwm_dev, zephyr_channel, &cycles_per_sec);

	/* PWM slice wraps (and DMA supplies the next duty value) at exactly
	 * SAMPLE_RATE_HZ - same "sample rate via wrap DREQ" concept as
	 * pico_mplay's I2S BCLK derivation, just for a single PWM channel
	 * instead of a bit-clocked serial protocol.
	 */
	uint32_t period_cycles = (uint32_t)(cycles_per_sec / SAMPLE_RATE_HZ);

	pwm_set_cycles(pwm_dev, zephyr_channel, period_cycles, 0, 0);
	cc_half = (volatile uint16_t *)&pwm_hw->slice[slice].cc + channel;
	dma_block.dest_address = (uintptr_t)cc_half;
	dma_cfg.dma_slot = RPI_PICO_DMA_DREQ_TO_SLOT(pwm_get_dreq(slice));

	if (gpio_get_function(BUZZER_PIN) != GPIO_FUNC_PWM) {
		printk("audio: WARNING GPIO%d isn't muxed to PWM - check the pinctrl in "
		       "the board overlay against expansion_board.overlay\n", BUZZER_PIN);
	}

	int ch = dma_request_channel(dma_dev, NULL);

	if (ch < 0) {
		printk("no free dma channel\n");
		return ch;
	}
	dma_channel = (uint32_t)ch;

	*top = period_cycles - 1;
	*sample_rate = (uint32_t)(cycles_per_sec / period_cycles);
	printk("audio: rp2xxx GPIO%d = PWM slice %u channel %c, cycles_per_sec=%llu "
	       "period_cycles=%u\n", BUZZER_PIN, slice, channel ? 'B' : 'A', cycles_per_sec,
	       period_cycles);
	return 0;
}

int audio_hw_start(void)
{
	arm_buffer(0);
	return 0;
}

/* Safety net: a buffer takes ~5.3ms, so 50ms without a single DMA IRQ
 * means the chain is stuck. Dump the raw state (CTRL bit 24 = BUSY, bit 0
 * = EN, bits 29..31 = error flags; PWM CSR bit 0 = slice enabled), abort,
 * and restart from the next buffer as if dma_done() had run. restarts
 * should stay 0 with the arm_buffer() fix - if it doesn't, the stall has
 * another cause, but playback recovers either way.
 */
void audio_hw_poll(void)
{
	static uint32_t watch_irqs;
	static int64_t watch_time;

	if (audio_stats.irqs != watch_irqs) {
		watch_irqs = audio_stats.irqs;
		watch_time = k_uptime_get();
		return;
	}
	if (k_uptime_get() - watch_time <= 50) {
		return;
	}

	printk("  DMA STALL: ctrl=%08x count=%u read=%08x "
	       "inte0=%08x intr=%08x pwm_csr=%08x pwm_ctr=%u - restarting\n",
	       dma_hw->ch[dma_channel].al1_ctrl,
	       dma_hw->ch[dma_channel].transfer_count,
	       dma_hw->ch[dma_channel].read_addr,
	       dma_hw->inte0, dma_hw->intr,
	       pwm_hw->slice[slice].csr,
	       pwm_hw->slice[slice].ctr);

	unsigned int key = irq_lock();

	/* Re-check under the lock: dma_done() may have fired since the check
	 * above, re-arming a healthy transfer that must not be aborted.
	 */
	if (audio_stats.irqs == watch_irqs) {
		dma_stop(dma_dev, dma_channel);
		while (dma_hw->abort & BIT(dma_channel)) {
		}
		arm_buffer(audio_core_consumed() + 1);
		audio_core_advance();
		audio_stats.restarts++;
	}
	irq_unlock(key);
	watch_time = k_uptime_get();
}
```

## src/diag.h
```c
#ifndef DIAG_H
#define DIAG_H

/* Prints the reset cause and any crash record left by the previous run,
 * then arms the hardware watchdog (2s). Call once, early in main().
 */
void diag_init(void);

/* Feed the watchdog - call from main()'s loop. */
void diag_feed(void);

#endif
```
